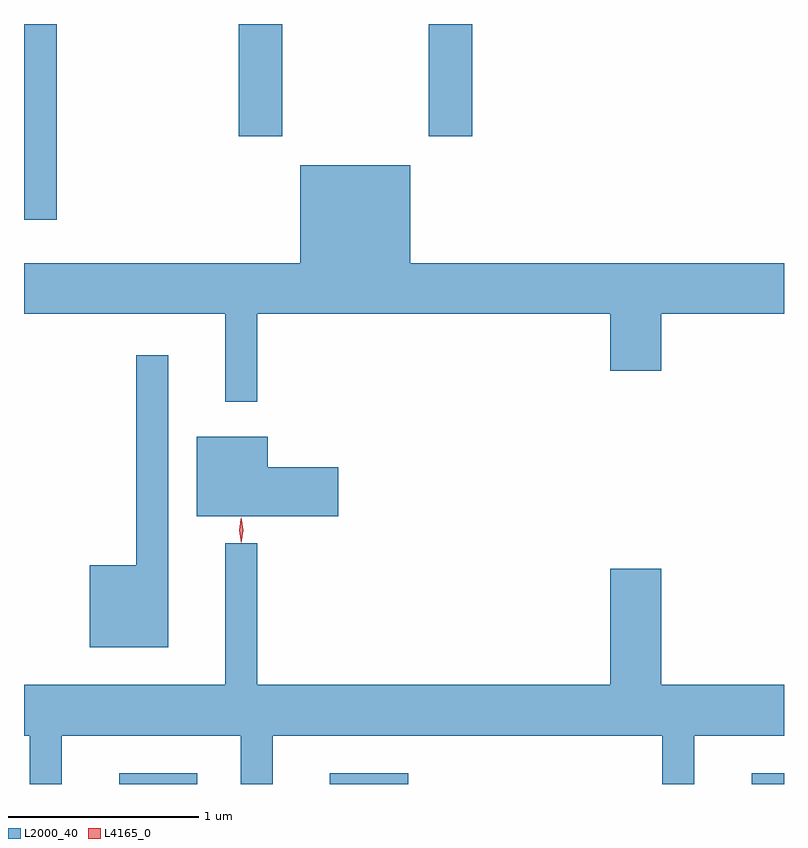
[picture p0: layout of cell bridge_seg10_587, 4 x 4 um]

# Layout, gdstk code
import gdstk
lib = gdstk.Library(unit=1e-6, precision=1e-09)
def R(c, l, rs):  # rectangles x0, y0, x1, y1
    for r in rs: c.add(gdstk.rectangle(r[:2], r[2:], *l))
def P(c, l, *ps):  # polygons
    for p in ps: c.add(gdstk.Polygon(p, *l))
L2000_40 = (2000, 40)
L4165_0 = (4165, 0)

bridge_seg10_587 = lib.new_cell('bridge_seg10_587')
R(bridge_seg10_587, L2000_40, [(751.951,2109.222,752.364,2109.279), (753.061,2109.222,753.474,2109.279), (755.281,2109.222,755.451,2109.279), (751.451,2112.191,751.624,2113.222), (752.581,2112.631,752.809,2113.222), (753.581,2112.631,753.809,2113.222)])
P(bridge_seg10_587, L2000_40, [(752.679,2111.696),(754.536,2111.696),(754.536,2111.396),(754.804,2111.396),(754.804,2111.696),(755.451,2111.696),(755.451,2111.964),(753.484,2111.964),(753.484,2112.479),(752.906,2112.479),(752.906,2111.964),(751.451,2111.964),(751.451,2111.696),(752.511,2111.696),(752.511,2111.233),(752.679,2111.233)],
  [(752.209,2111.478),(752.041,2111.478),(752.041,2110.374),(751.796,2110.374),(751.796,2109.941),(752.209,2109.941)],
  [(753.104,2110.889),(752.734,2110.889),(752.734,2111.049),(752.361,2111.049),(752.361,2110.631),(753.104,2110.631)],
  [(751.649,2109.476),(752.591,2109.476),(752.591,2109.222),(752.759,2109.222),(752.759,2109.476),(754.811,2109.476),(754.811,2109.222),(754.979,2109.222),(754.979,2109.476),(755.451,2109.476),(755.451,2109.744),(754.804,2109.744),(754.804,2110.354),(754.536,2110.354),(754.536,2109.744),(752.679,2109.744),(752.679,2110.488),(752.511,2110.488),(752.511,2109.744),(751.451,2109.744),(751.451,2109.476),(751.481,2109.476),(751.481,2109.222),(751.649,2109.222)])
P(bridge_seg10_587, L4165_0, [(752.594,2110.49),(752.585,2110.558),(752.594,2110.626),(752.595,2110.626),(752.595,2110.626),(752.605,2110.558),(752.595,2110.49),(752.595,2110.49)],
  [(752.595,2110.493),(752.594,2110.494),(752.584,2110.556),(752.593,2110.619),(752.594,2110.62),(752.594,2110.619),(752.604,2110.556),(752.595,2110.494)])

lib.write_gds('bridge_seg10_587.gds')
